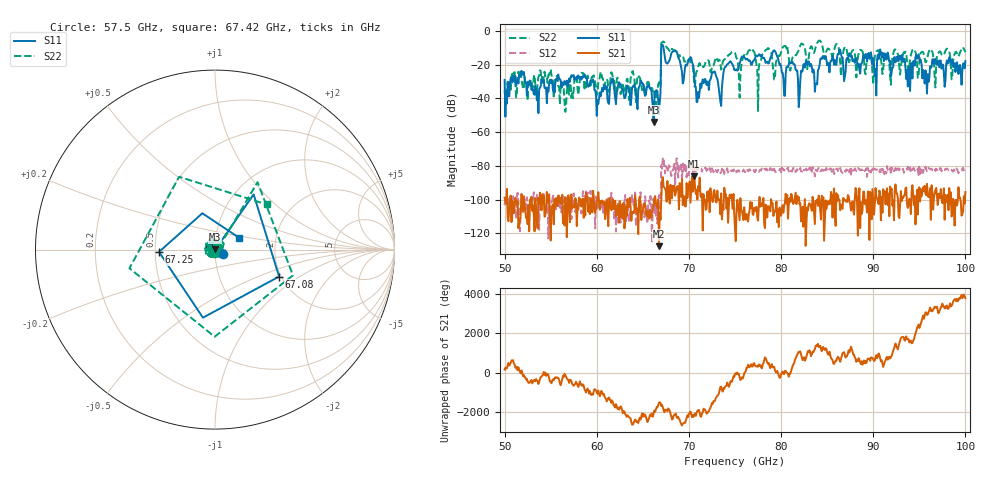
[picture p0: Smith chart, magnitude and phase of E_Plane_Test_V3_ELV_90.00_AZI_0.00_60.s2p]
! 11/26/2026 4:39:53 PM
! C:\ANRITSUVNA\TEMP\TEMP.S2P
! CHANNEL.1
! TR.MEASUREMENT
! RAW.DATA
# HZ S RI R 50.0
! FREQ.HZ  S11RE  S11IM  S21RE  S21IM  S12RE  S12IM  S22RE  S22IM
!; PortSelection: Port_12
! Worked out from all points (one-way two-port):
!   601 points, 50 GHz to 100 GHz, reference 50 ohm
!   highest |S21| = -86.11 dB at 70.58 GHz (marker M1); lowest = -127.7 dB at 66.75 GHz (marker M2)
!   lowest |S11| = -54.0 dB at 66.17 GHz (marker M3), VSWR 1.00, Z = 50.1 + j0.144 ohm
!   |S11| at or under -10 dB: start of sweep to 67 GHz; 67.24 GHz to end of sweep
!   |S22| runs from -48.0 to -5.6 dB; largest |S21 - S12| = 0.0002
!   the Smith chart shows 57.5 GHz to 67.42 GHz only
!   S11 on the Smith chart (normalised r, x): 57.5 GHz: 1.09, -0.05; 67.08 GHz: 1.95, -0.69; 67.25 GHz: 0.52, -0.01; 67.42 GHz: 1.29, +0.18
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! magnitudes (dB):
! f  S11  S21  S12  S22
! 50 GHz  -29.0  -98.9  -103.5  -35.4
! 57.5 GHz  -26.2  -103.9  -96.3  -34.6
! 58.42 GHz  -27.1  -100.1  -101.6  -24.8
! 60.17 GHz  -43.2  -95.7  -98.8  -30.3
! 66.17 GHz  -54.0  -103.4  -99.4  -34.0
! 66.67 GHz  -41.4  -100.0  -101.0  -31.6
! 66.75 GHz  -49.2  -127.7  -97.3  -30.4
! 67.08 GHz  -8.2  -89.0  -81.8  -6.8
! 67.25 GHz  -10.1  -92.2  -75.1  -6.2
! 67.42 GHz  -16.6  -93.6  -84.5  -8.3
! 70.58 GHz  -27.3  -86.1  -84.7  -32.8
! 73.42 GHz  -42.3  -108.8  -84.4  -19.8
! 75 GHz  -23.3  -117.4  -82.0  -12.9
! 77.58 GHz  -13.8  -104.2  -83.7  -21.7
! 78.5 GHz  -18.2  -110.6  -82.2  -10.8
! 79.33 GHz  -11.9  -107.2  -83.4  -28.8
! 80.25 GHz  -28.0  -107.9  -81.9  -9.4
! 83.42 GHz  -24.6  -98.4  -80.8  -10.8
! 91.67 GHz  -16.8  -96.5  -83.2  -15.2
! 94.83 GHz  -14.9  -108.9  -82.5  -27.8
! 95.83 GHz  -37.1  -90.7  -83.2  -16.5
! 100 GHz  -17.8  -95.5  -83.1  -12.5
